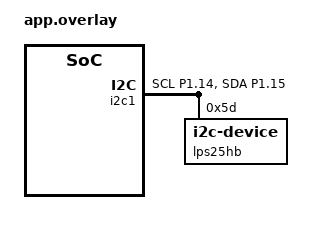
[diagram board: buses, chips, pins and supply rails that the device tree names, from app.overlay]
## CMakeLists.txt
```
cmake_minimum_required(VERSION 3.20.0)

cmake_policy(SET CMP0057 NEW)

find_package(Zephyr REQUIRED HINTS $ENV{ZEPHYR_BASE})
project(smart-home-firmware)

FILE(GLOB_RECURSE SOURCES RELATIVE ${CMAKE_SOURCE_DIR}
    "src/*.c"
)

target_include_directories(app PRIVATE
    ${CMAKE_SOURCE_DIR}/inc
)

target_sources(app PRIVATE ${SOURCES})
```

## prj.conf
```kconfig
# Logging
CONFIG_LOG=y
CONFIG_CBPRINTF_FP_SUPPORT=y

CONFIG_TFM_SECURE_UART=n
CONFIG_TFM_LOG_LEVEL_SILENCE=y

# Wi-Fi
CONFIG_WIFI=y
CONFIG_WIFI_NM_WPA_SUPPLICANT=y

CONFIG_NRF70_RX_NUM_BUFS=16
CONFIG_NRF70_MAX_TX_AGGREGATION=4

# Wi-Fi Credentials
CONFIG_WIFI_CREDENTIALS=y
CONFIG_WIFI_CREDENTIALS_STATIC=y
CONFIG_WIFI_CREDENTIALS_STATIC_SSID="TP-Link_3C3A"
CONFIG_WIFI_CREDENTIALS_STATIC_PASSWORD="55017138"
CONFIG_WIFI_CREDENTIALS_BACKEND_SETTINGS=y

# Networking Management API
CONFIG_NET_MGMT=y
CONFIG_NET_MGMT_EVENT=y
CONFIG_NET_MGMT_EVENT_INFO=y

CONFIG_NET_CONNECTION_MANAGER=y
CONFIG_NET_CONNECTION_MANAGER_MONITOR_STACK_SIZE=5200
CONFIG_L2_WIFI_CONNECTIVITY=y
CONFIG_L2_WIFI_CONNECTIVITY_AUTO_CONNECT=y

# Networking
CONFIG_NETWORKING=y
CONFIG_NET_SOCKETS=y
CONFIG_NET_L2_ETHERNET=y
CONFIG_NET_IPV4=y
CONFIG_NET_IPV6=y
CONFIG_NET_TCP=y
CONFIG_NET_DHCPV4=y
CONFIG_DNS_RESOLVER=y

# Memory
CONFIG_SYSTEM_WORKQUEUE_STACK_SIZE=4096
CONFIG_MAIN_STACK_SIZE=5200
CONFIG_HEAP_MEM_POOL_SIZE=153600
CONFIG_HEAP_MEM_POOL_IGNORE_MIN=y

# System settings
CONFIG_NEWLIB_LIBC=y
CONFIG_NEWLIB_LIBC_NANO=n

# Network parameters
CONFIG_NET_TC_TX_COUNT=0
CONFIG_NET_BUF_TX_COUNT=16
CONFIG_NET_BUF_RX_COUNT=16
CONFIG_NET_PKT_TX_COUNT=14
CONFIG_NET_PKT_RX_COUNT=14
CONFIG_NET_TX_STACK_SIZE=4096
CONFIG_NET_RX_STACK_SIZE=4096
CONFIG_NET_BUF_FIXED_DATA_SIZE=y
CONFIG_NET_BUF_DATA_SIZE=256
CONFIG_NET_TCP_WORKQ_STACK_SIZE=2048

# MQTT
CONFIG_MQTT_HELPER=y
CONFIG_MQTT_CLEAN_SESSION=y

# SENSORS
CONFIG_I2C=y
CONFIG_SENSOR=y
CONFIG_LPS25HB=y
```

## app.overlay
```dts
&i2c1 {
    status = "okay";
    pinctrl-0 = <&i2c1_default>;
	pinctrl-1 = <&i2c1_sleep>;
    pinctrl-names = "default", "sleep";
    lps25hb: lps25hb@5d {
        compatible = "i2c-device";
        status = "okay";
        reg = < 0x5d >;
    };
};

&pinctrl {
	i2c1_default: i2c1_default {
		group1  {
			psels = <NRF_PSEL(TWIM_SCL, 1, 14)>,
					<NRF_PSEL(TWIM_SDA, 1, 15)>;
		};
	};

	i2c1_sleep: i2c1_sleep {
		group1  {
			psels = <NRF_PSEL(TWIM_SCL, 1, 14)>,
					<NRF_PSEL(TWIM_SDA, 1, 15)>;
			low-power-enable;
		};
	};
};
```

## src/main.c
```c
#include <zephyr/kernel.h>

int main()
{
    while (true) {
        printk("Basic app\n");
    }
    
}
```

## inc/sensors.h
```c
#ifndef SENSORS_H
#define SENSORS_H

#include <stdint.h>
#include <zephyr/sys/__assert.h>

#define USER_MAX_SENSORS 3

/* LPS25HB I2C sensor */
#define I2C_NODE DT_NODELABEL(lps25hb)

#define LPS25HB_ADDR 0xBA
#define LPS25HB_WHO_AM_I 0x0F
#define LPS25HB_CTRL_REG1 0x20
#define LPS25HB_CTRL_REG2 0x21
#define LPS25HB_CTRL_REG3 0x22
#define LPS25HB_CTRL_REG4 0x23
#define LPS25HB_PRESS_OUT_XL 0x28
#define LPS25HB_PRESS_OUT_L 0x29
#define LPS25HB_PRESS_OUT_H 0x2A
#define LPS25HB_TEMP_OUT_L 0x2B
#define LPS25HB_TEMP_OUT_H 0x2C
#define LPS25HB_RPDS_L 0x39
#define LPS25HB_RPDS_H 0x3A

#define LPS25HB_WHO_AM_I_EXPECTED 0xBD
#define LPS25HB_WAKE_UP_25HZ 0xC0
#define LPS25HB_READ_NEXT 0x80

struct __attribute__((packed)) sensor_data {
    uint16_t userId;
    uint32_t readingId;
    uint16_t temp[USER_MAX_SENSORS];
    uint16_t humidity[USER_MAX_SENSORS];
    uint32_t pressure[USER_MAX_SENSORS];
    uint32_t light[USER_MAX_SENSORS];
};

BUILD_ASSERT(sizeof(struct sensor_data) == 42, "Struct size mismatch");

void sensors_thread(void);

#endif /* SENSORS_H */
```

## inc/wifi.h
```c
#ifndef WIFI_H
#define WIFI_H

#define EVENT_MASK (NET_EVENT_L4_CONNECTED | NET_EVENT_L4_DISCONNECTED)

#define SENSOR_PUBLISH_TOPIC "pyagh/smarthome/sensors/data"

#define BROKER_HOSTNAME "broker.hivemq.com"

#define WIFI_STACK_SIZE 2048

void wifi_thread(void);

#endif /* WIFI_H */
```

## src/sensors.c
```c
#include "../inc/sensors.h"
#include <zephyr/kernel.h>
#include <zephyr/drivers/i2c.h>
#include <zephyr/sys/printk.h>
#include <zephyr/random/random.h>

#include <math.h>

K_THREAD_DEFINE(sensors, 2048, sensors_thread, NULL, NULL, NULL, 1, 0, 0);

static const struct i2c_dt_spec dev_i2c = I2C_DT_SPEC_GET(I2C_NODE);

static void lps25hb_calibrate(uint16_t value)
{
    uint8_t calibrate_data_low[] = {LPS25HB_RPDS_L, value};
    int ret = i2c_write_dt(&dev_i2c, calibrate_data_low, sizeof(calibrate_data_low));
    if (ret < 0) {
        printk("Failed to set low calibration data, error = %d\n", ret);
        return;
    }

    uint8_t calibrate_data_high[] = {LPS25HB_RPDS_H, value >> 8};
    ret = i2c_write_dt(&dev_i2c, calibrate_data_high, sizeof(calibrate_data_high));
    if (ret < 0) {
        printk("Failed to set high calibration data, error = %d\n", ret);
        return;
    }
}

static void lps25hb_read(struct sensor_data *data)
{
    int ret;
    uint8_t wake_up_data[] = {LPS25HB_CTRL_REG1, LPS25HB_WAKE_UP_25HZ};
    ret = i2c_write_dt(&dev_i2c, wake_up_data, sizeof(wake_up_data));
    
    if (ret < 0) {
        printk("Failed to activate sensor, error = %d\n", ret);
        return;
    }

    uint8_t w_temp_data[] = {LPS25HB_TEMP_OUT_L | LPS25HB_READ_NEXT};
    uint8_t w_pres_data[] = {LPS25HB_PRESS_OUT_XL | LPS25HB_READ_NEXT};

    int16_t raw_temp = 0;
    int32_t raw_pres = 0;

    ret = i2c_write_read_dt(
        &dev_i2c,
        w_temp_data,
        sizeof(w_temp_data),
        (uint8_t*)&raw_temp,
        sizeof(raw_temp)
    );

    if (ret < 0) {
        printk("Temperature read failed, error = %d\n", ret);
        return;
    }

    ret = i2c_write_read_dt(
        &dev_i2c,
        w_pres_data,
        sizeof(w_pres_data),
        (uint8_t*)&raw_pres,
        3
    );

    if (ret < 0) {
        printk("Pressure read failed, error = %d\n", ret);
        return;
    }

    const float h = 207.0f;
    const float mu = 0.034162608734308;

    float temperature = 42.5f + raw_temp / 480.0f;
    float absolute_pressure = raw_pres / 4096.0f;

    uint16_t temperature_scaled = temperature * 10;
    uint32_t pressure_relative_scaled = absolute_pressure * 1000 * exp(mu * h / (temperature + 273.15f));

    data->temp[0] = temperature_scaled;
    data->temp[1] = temperature_scaled + sys_rand16_get() % 20 + 10;
    data->temp[2] = temperature_scaled - sys_rand16_get() % 20 - 20;
    data->pressure[0] = pressure_relative_scaled;
    data->pressure[1] = pressure_relative_scaled + sys_rand32_get() % 2000 + 1000;
    data->pressure[2] = pressure_relative_scaled + sys_rand32_get() % 2000 - 1000;
}

void sensors_thread(void)
{
    int ret;
    if (!device_is_ready(dev_i2c.bus)) {
        printk("I2C bus %s is not ready!\n", dev_i2c.bus->name);
        return;
    }

    uint8_t who_am_i_value = 0;
    uint8_t who_am_i_addr = LPS25HB_WHO_AM_I;

    ret = i2c_write_read_dt(
        &dev_i2c,
        &who_am_i_addr,
        sizeof(who_am_i_addr),
        &who_am_i_value,
        sizeof(who_am_i_value)
    );

    if (ret < 0) {
        printk("I2C read from WHO_AM_I register failed with error %d\n", ret);
        return;
    }

    if (who_am_i_value != LPS25HB_WHO_AM_I_EXPECTED) {
        printk("WHO_AM_I does not match, value read %d\n", who_am_i_value);
        return;
    }

    printk("I2C communication with LPS25HB established\n");

    lps25hb_calibrate(112);

    while (true) {
        struct sensor_data data;
        lps25hb_read(&data);
        printk(
            "T1 = %.1f C, T2 = %.1f C, T3 = %.1f C\nP1 = %.1f hPa, P2 = %.1f hPa, P3 = %.1f hPa\n\n",
            data.temp[0] / 10.0f,
            data.temp[1] / 10.0f,
            data.temp[2] / 10.0f,
            data.pressure[0] / 1000.0f,
            data.pressure[1] / 1000.0f,
            data.pressure[2] / 1000.0f
        );
        k_msleep(1000);
    }
}
```

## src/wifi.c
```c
#include "../inc/wifi.h"
#include "../inc/sensors.h"

#include <zephyr/kernel.h>
#include <zephyr/types.h>
#include <zephyr/random/random.h>

#include <zephyr/net/net_mgmt.h>
#include <zephyr/net/wifi_mgmt.h>
#include <zephyr/net/socket.h>

#include <net/wifi_credentials.h>
#include <net/mqtt_helper.h>

#include <zephyr/logging/log.h>

K_THREAD_DEFINE(wifi, WIFI_STACK_SIZE, wifi_thread, NULL, NULL, NULL, 1, 0, 0);
LOG_MODULE_REGISTER(wifi_logger);

static struct net_mgmt_event_callback mgmt_cb;
static uint8_t client_id[sizeof(CONFIG_BOARD) + 11];

static bool connected;
static K_SEM_DEFINE(run_app, 0, 1);
static K_SEM_DEFINE(mqtt_connected, 0, 1);

static void net_mgmt_event_handler(struct net_mgmt_event_callback *cb, 
                                uint32_t mgmt_event, struct net_if *iface)
{
    if ((mgmt_event & EVENT_MASK) != mgmt_event) {
        return;
    }
    
    if (mgmt_event == NET_EVENT_L4_CONNECTED) {
        LOG_INF("Network connected");
        connected = true;
        k_sem_give(&run_app);
        return;
    }

    if (mgmt_event == NET_EVENT_L4_DISCONNECTED) {
        if (connected == false) {
            LOG_INF("Waiting for wifi to be connected");
        } else {
            LOG_INF("Network disconnected");
            mqtt_helper_disconnect();
            connected = false;
            k_sem_reset(&run_app);
        }
        return;
    }
}

static int publish(uint8_t* data, size_t len)
{
    int err;

    struct mqtt_publish_param mqtt_param;

    mqtt_param.message.payload.data = data;
    mqtt_param.message.payload.len = len;
    mqtt_param.message.topic.qos = MQTT_QOS_0_AT_MOST_ONCE;
    mqtt_param.message_id = mqtt_helper_msg_id_get();
    mqtt_param.message.topic.topic.utf8 = SENSOR_PUBLISH_TOPIC;
    mqtt_param.message.topic.topic.size = sizeof(SENSOR_PUBLISH_TOPIC) - 1,
    mqtt_param.dup_flag = 0;
    mqtt_param.retain_flag = 0;

    err = mqtt_helper_publish(&mqtt_param);
    if (err) {
        LOG_WRN("Failed to send payload, err: %d", err);
        return err;
    }

    LOG_INF("Published %d bytes on topic: \"%.*s\"", 
        len,
        mqtt_param.message.topic.topic.size,
        mqtt_param.message.topic.topic.utf8
    );

    return 0;
}

static void on_mqtt_connack(enum mqtt_conn_return_code return_code, bool session_present)
{
    if (return_code == MQTT_CONNECTION_ACCEPTED) {
        LOG_INF("Connected to MQTT broker");
        LOG_INF("Hostname: %s", BROKER_HOSTNAME);
		LOG_INF("Client ID: %s", (char *)client_id);
		LOG_INF("Port: %d", CONFIG_MQTT_HELPER_PORT);
		LOG_INF("TLS: %s", IS_ENABLED(CONFIG_MQTT_LIB_TLS) ? "Yes" : "No");
        k_sem_give(&mqtt_connected);
    } else {
        LOG_WRN("Connection to broker not established, err = %d", return_code);
    }
}

static void on_mqtt_disconnect(int result)
{
    LOG_INF("Disconnect from the broker, result = %d", result);
    k_sem_reset(&mqtt_connected);
}

void wifi_thread(void)
{
    LOG_INF("Initializing Wi-Fi driver");
    k_sleep(K_SECONDS(1));

    net_mgmt_init_event_callback(&mgmt_cb, net_mgmt_event_handler, EVENT_MASK);
    net_mgmt_add_event_callback(&mgmt_cb);

    #ifdef CONFIG_WIFI_CREDENTIALS_STATIC
    struct net_if *iface = net_if_get_first_wifi();
    if (iface == NULL) {
        LOG_ERR("Returned network interface is NULL");
        return;
    }
    #endif /* CONFIG_WIFI_CREDENTIALS_STATIC */

    while (true) {
        k_sem_take(&run_app, K_FOREVER);
        k_sem_give(&run_app);

        while (k_sem_count_get(&run_app)) {
            struct mqtt_helper_cfg config = {
                .cb = {
                    .on_connack = on_mqtt_connack,
                    .on_disconnect = on_mqtt_disconnect
                }
            };

            int err = mqtt_helper_init(&config);
            if (err) {
                LOG_ERR("Failed to initialize MQTT helper, error: %d", err);
                k_sleep(K_SECONDS(1));
                continue;
            }

            uint32_t id = sys_rand32_get();
            snprintf(client_id, sizeof(client_id), "%s-%010u", CONFIG_BOARD, id);

            struct mqtt_helper_conn_params conn_params = {
                .hostname.ptr = BROKER_HOSTNAME,
                .hostname.size = sizeof(BROKER_HOSTNAME) - 1,
                .device_id.ptr = (char *)client_id,
                .device_id.size = sizeof(client_id) - 1
            };

            err = mqtt_helper_connect(&conn_params);
            if (err) {
                LOG_ERR("Failed to connect to MQTT, error code: %d", err);
                k_sleep(K_SECONDS(1));
                continue;
            }

            k_sem_take(&mqtt_connected, K_FOREVER);
            k_sem_give(&mqtt_connected);

            while (k_sem_count_get(&mqtt_connected)) {
                struct sensor_data data = {
                    .userId = 1,
                    .readingId = sys_rand32_get(),
                    .temp = {
                        100 + sys_rand16_get() % 210,
                        200 + sys_rand16_get() % 160,
                        300 + sys_rand16_get() % 110
                    },
                    .humidity = {
                        300 + sys_rand16_get() % 101,
                        320 + sys_rand16_get() % 100,
                        100 + sys_rand16_get() % 200
                    },
                    .pressure = {
                        900000 + sys_rand32_get() % 200000,
                        1000000 + sys_rand32_get() % 100000,
                        1000999 + sys_rand32_get() % 50000
                    },
                    .light = {
                        sys_rand32_get() % 50000,
                        70000 + sys_rand32_get() % 10000,
                        15000 + sys_rand32_get() % 40000
                    }
                };

                publish((uint8_t*)&data, sizeof(data));

                k_sleep(K_SECONDS(1));
            }
        }
        LOG_INF("App stoped");
    }
}
```
